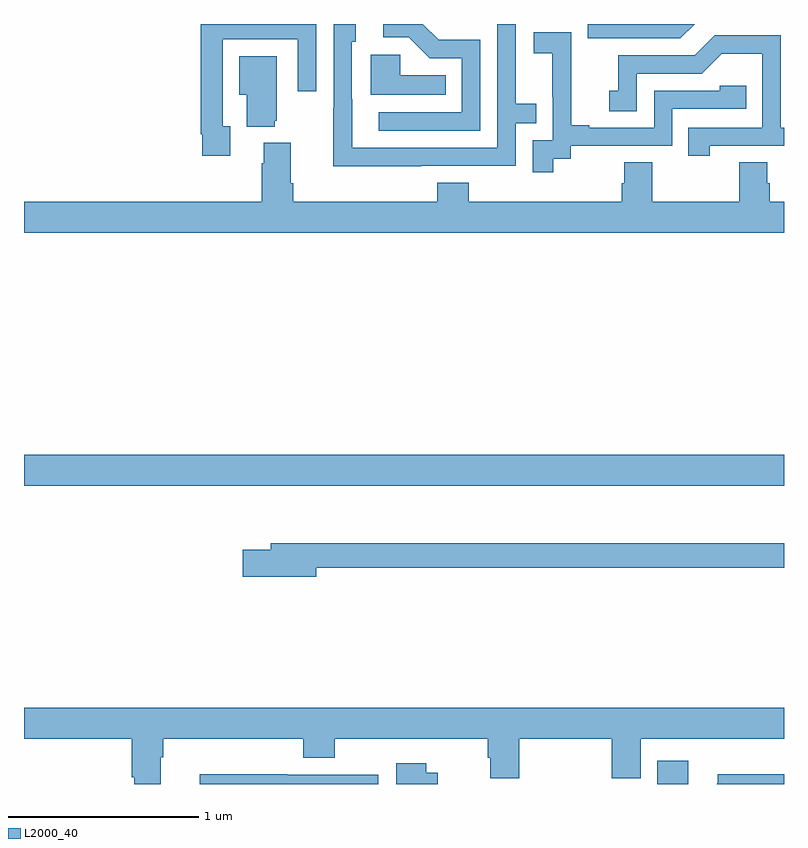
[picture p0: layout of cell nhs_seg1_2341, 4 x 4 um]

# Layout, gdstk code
import gdstk
lib = gdstk.Library(unit=1e-6, precision=1e-09)
def R(c, l, rs):  # rectangles x0, y0, x1, y1
    for r in rs: c.add(gdstk.rectangle(r[:2], r[2:], *l))
def P(c, l, *ps):  # polygons
    for p in ps: c.add(gdstk.Polygon(p, *l))
L2000_40 = (2000, 40)

nhs_seg1_2341 = lib.new_cell('nhs_seg1_2341')
R(nhs_seg1_2341, L2000_40, [(242.334,514.199,242.495,514.321), (239,515.768,243,515.932)])
P(nhs_seg1_2341, L2000_40, [(240.085,517.662),(240.045,517.662),(240.045,518.118),(240.441,518.118),(240.441,517.845),(240.537,517.845),(240.537,518.199),(239.929,518.199),(239.929,517.618),(239.937,517.618),(239.937,517.506),(240.085,517.506)],
  [(241.401,518.115),(241.182,518.115),(241.098,518.199),(240.891,518.199),(240.891,518.13),(241.025,518.13),(241.136,518.019),(241.305,518.019),(241.305,517.734),(240.867,517.734),(240.867,517.638),(241.401,517.638)],
  [(242.529,518.199),(241.968,518.199),(241.968,518.124),(242.454,518.124)],
  [(241.091,517.452),(241.587,517.452),(241.587,517.677),(241.697,517.677),(241.697,517.778),(241.587,517.778),(241.587,518.199),(241.491,518.199),(241.491,517.548),(240.727,517.548),(240.727,517.802),(240.726,517.802),(240.726,518.106),(240.745,518.106),(240.745,518.199),(240.63,518.199),(240.63,517.757),(240.628,517.757),(240.628,517.451),(241.091,517.451)],
  [(241.786,517.489),(241.878,517.489),(241.878,517.557),(242.412,517.557),(242.412,517.752),(242.801,517.752),(242.801,517.875),(242.661,517.875),(242.661,517.848),(242.316,517.848),(242.316,517.653),(241.975,517.653),(241.975,517.666),(241.88,517.666),(241.88,517.949),(241.881,517.949),(241.881,518.155),(241.683,518.155),(241.683,518.045),(241.781,518.045),(241.781,517.817),(241.782,517.817),(241.782,517.587),(241.677,517.587),(241.677,517.419),(241.786,517.419)],
  [(242.608,517.557),(243,517.557),(243,517.653),(242.982,517.653),(242.982,518.139),(242.636,518.139),(242.531,518.034),(242.128,518.034),(242.128,517.849),(242.079,517.849),(242.079,517.74),(242.226,517.74),(242.226,517.938),(242.568,517.938),(242.672,518.042),(242.886,518.042),(242.886,517.653),(242.497,517.653),(242.497,517.506),(242.608,517.506)],
  [(241.22,517.93),(240.981,517.93),(240.981,518.038),(240.824,518.038),(240.824,517.826),(241.22,517.826)],
  [(240.32,517.689),(240.331,517.689),(240.331,518.029),(240.134,518.029),(240.134,517.826),(240.173,517.826),(240.173,517.658),(240.32,517.658)],
  [(240.263,517.573),(240.263,517.466),(240.251,517.466),(240.251,517.264),(239,517.264),(239,517.1),(243,517.1),(243,517.264),(242.924,517.264),(242.924,517.362),(242.911,517.362),(242.911,517.472),(242.764,517.472),(242.764,517.264),(242.307,517.264),(242.307,517.472),(242.159,517.472),(242.159,517.362),(242.147,517.362),(242.147,517.264),(241.34,517.264),(241.34,517.363),(241.175,517.363),(241.175,517.264),(240.416,517.264),(240.416,517.36),(240.403,517.36),(240.403,517.573)],
  [(240.538,515.338),(243,515.338),(243,515.467),(240.299,515.467),(240.299,515.433),(240.15,515.433),(240.15,515.291),(240.538,515.291)],
  [(239.719,514.34),(239.732,514.34),(239.732,514.436),(240.47,514.436),(240.47,514.337),(240.635,514.337),(240.635,514.436),(241.442,514.436),(241.442,514.338),(241.454,514.338),(241.454,514.228),(241.607,514.228),(241.607,514.436),(242.093,514.436),(242.093,514.228),(242.245,514.228),(242.245,514.436),(243,514.436),(243,514.6),(239,514.6),(239,514.436),(239.567,514.436),(239.567,514.234),(239.579,514.234),(239.579,514.199),(239.719,514.199)],
  [(241.178,514.257),(241.116,514.257),(241.116,514.309),(240.96,514.309),(240.96,514.199),(241.178,514.199)],
  [(240.864,514.248),(240.386,514.248),(240.386,514.25),(239.924,514.25),(239.924,514.199),(240.864,514.199)],
  [(243,514.25),(242.652,514.25),(242.652,514.205),(242.646,514.199),(243,514.199)])

lib.write_gds('nhs_seg1_2341.gds')
